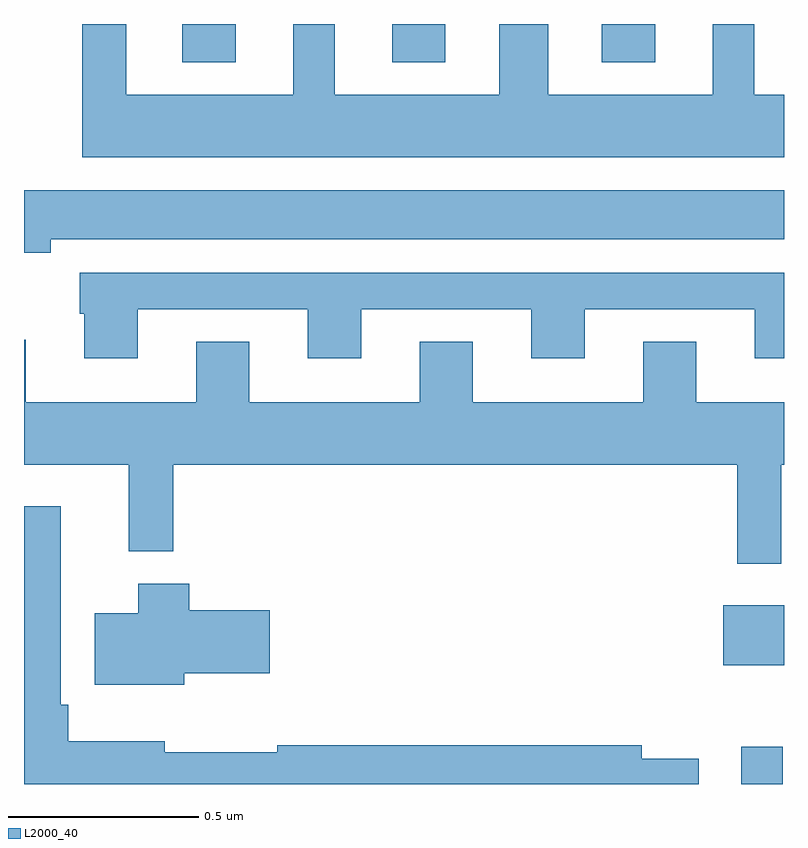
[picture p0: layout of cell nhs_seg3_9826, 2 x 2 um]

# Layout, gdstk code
import gdstk
lib = gdstk.Library(unit=1e-6, precision=1e-09)
def R(c, l, rs):  # rectangles x0, y0, x1, y1
    for r in rs: c.add(gdstk.rectangle(r[:2], r[2:], *l))
def A(c, l, x, y, w, h, nx, ny, dx, dy):  # array of equal rectangles
    R(c, l, [(x+i*dx, y+j*dy, x+i*dx+w, y+j*dy+h) for i in range(nx) for j in range(ny)])
def P(c, l, *ps):  # polygons
    for p in ps: c.add(gdstk.Polygon(p, *l))
L2000_40 = (2000, 40)

nhs_seg3_9826 = lib.new_cell('nhs_seg3_9826')
A(nhs_seg3_9826, L2000_40, 233.417, 711.299, 0.14, 0.101, 3, 1, 0.552, 0)
R(nhs_seg3_9826, L2000_40, [(234.887,709.4,234.997,709.498), (234.84,709.712,235,709.87)])
P(nhs_seg3_9826, L2000_40, [(235,711.214),(234.922,711.214),(234.922,711.4),(234.812,711.4),(234.812,711.214),(234.379,711.214),(234.379,711.4),(234.251,711.4),(234.251,711.214),(233.818,711.214),(233.818,711.4),(233.708,711.4),(233.708,711.214),(233.269,711.214),(233.269,711.4),(233.153,711.4),(233.153,711.05),(235,711.05)],
  [(233.071,710.834),(235,710.834),(235,710.962),(233,710.962),(233,710.798),(233.071,710.798)],
  [(233.299,710.649),(233.747,710.649),(233.747,710.52),(233.887,710.52),(233.887,710.649),(234.335,710.649),(234.335,710.52),(234.475,710.52),(234.475,710.649),(234.923,710.649),(234.923,710.52),(235,710.52),(235,710.745),(233.147,710.745),(233.147,710.637),(233.159,710.637),(233.159,710.52),(233.299,710.52)],
  [(234.993,710.24),(235,710.24),(235,710.404),(234.769,710.404),(234.769,710.564),(234.629,710.564),(234.629,710.404),(234.181,710.404),(234.181,710.564),(234.041,710.564),(234.041,710.404),(233.593,710.404),(233.593,710.564),(233.453,710.564),(233.453,710.404),(233.005,710.404),(233.005,710.569),(233,710.569),(233,710.24),(233.276,710.24),(233.276,710.012),(233.393,710.012),(233.393,710.24),(234.877,710.24),(234.877,709.98),(234.993,709.98)],
  [(234.775,709.466),(234.625,709.466),(234.625,709.502),(233.667,709.502),(233.667,709.484),(233.371,709.484),(233.371,709.513),(233.117,709.513),(233.117,709.609),(233.097,709.609),(233.097,710.131),(233,710.131),(233,709.4),(234.775,709.4)],
  [(233.422,709.691),(233.647,709.691),(233.647,709.857),(233.435,709.857),(233.435,709.927),(233.3,709.927),(233.3,709.849),(233.186,709.849),(233.186,709.661),(233.422,709.661)])

lib.write_gds('nhs_seg3_9826.gds')
